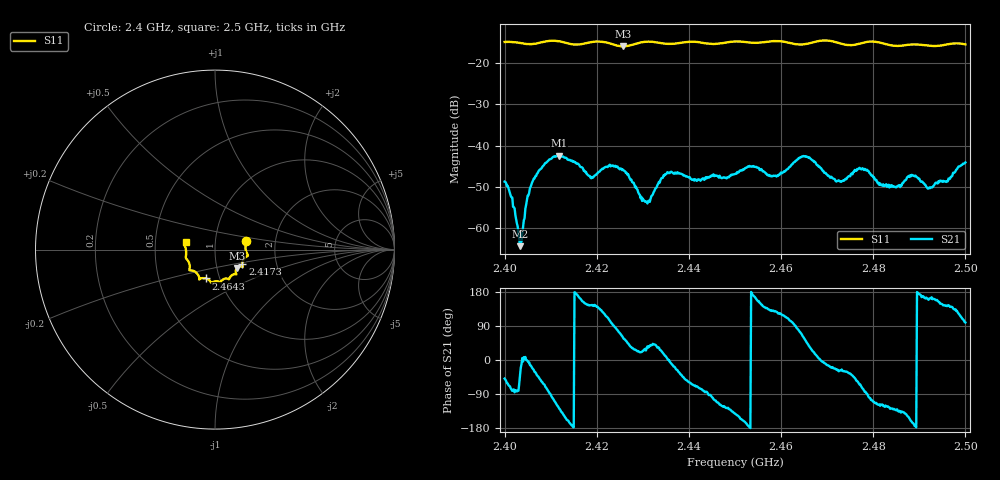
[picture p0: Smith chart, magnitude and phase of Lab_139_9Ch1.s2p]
# Hz S RI R 50
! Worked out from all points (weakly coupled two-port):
!   601 points, 2.4 GHz to 2.5 GHz, reference 50 ohm
!   highest |S21| = -42.38 dB at 2.4118 GHz (marker M1); lowest = -64.3 dB at 2.4033 GHz (marker M2)
!   lowest |S11| = -15.9 dB at 2.4257 GHz (marker M3), VSWR 1.38, Z = 62.4 - j13.1 ohm
!   |S11| at or under -10 dB: start of sweep to end of sweep
!   S12 and S22 are empty: the file has one direction only
!   S11 on the Smith chart (normalised r, x): 2.4 GHz: 1.41, +0.14; 2.4173 GHz: 1.34, -0.23; 2.4643 GHz: 0.86, -0.28; 2.5 GHz: 0.72, +0.06
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2.4e9  0.1735 0.0496  0.00241 -0.00278  0 0  0 0
2.401667e9  0.1754 0.0429  0.00035 -0.00233  0 0  0 0
2.403333e9  0.1731 0.0319  0.000456 -0.000401  0 0  0 0
2.406167e9  0.1707 -0.00092  0.00347 -0.00154  0 0  0 0
2.411833e9  0.1806 -0.036  -0.00468 -0.00599  0 0  0 0
2.416667e9  0.1527 -0.0745  -0.00512 0.00202  0 0  0 0
2.417333e9  0.1524 -0.0818  -0.00431 0.00249  0 0  0 0
2.425667e9  0.1225 -0.1025  0.00257 0.00446  0 0  0 0
2.430667e9  0.119 -0.1377  0.00191 0.000898  0 0  0 0
2.433333e9  0.1129 -0.1367  0.00288 0.00191  0 0  0 0
2.435833e9  0.0956 -0.1419  0.00465 -0.000361  0 0  0 0
2.45e9  0.0296 -0.181  -0.00356 -0.00282  0 0  0 0
2.4535e9  0.014 -0.1766  -0.0056 3.8e-05  0 0  0 0
2.459167e9  -0.0221 -0.1843  -0.00257 0.0035  0 0  0 0
2.464333e9  -0.0502 -0.1606  0.00243 0.00684  0 0  0 0
2.466667e9  -0.0764 -0.1598  0.00602 0.00301  0 0  0 0
2.472333e9  -0.0887 -0.1532  0.00338 -0.00166  0 0  0 0
2.477333e9  -0.1298 -0.1163  0.00192 -0.00483  0 0  0 0
2.483333e9  -0.1407 -0.0895  -0.00189 -0.00279  0 0  0 0
2.488667e9  -0.1619 -0.0476  -0.00422 -0.000984  0 0  0 0
2.492333e9  -0.1609 -0.0217  -0.00293 0.000911  0 0  0 0
2.5e9  -0.1634 0.0423  -0.000977 0.0062  0 0  0 0
